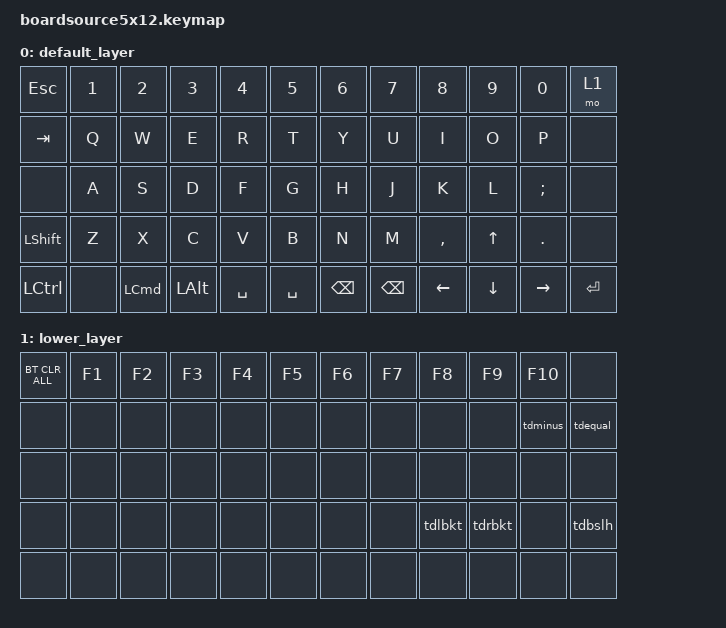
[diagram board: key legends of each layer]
/*
 * Copyright (c) 2021 The ZMK Contributors
 *
 * SPDX-License-Identifier: MIT
 */

#include <behaviors.dtsi>
#include <dt-bindings/zmk/bt.h>
#include <dt-bindings/zmk/keys.h>

/ {
    behaviors {
        tdn5: tap_dance_n5 {
            compatible = "zmk,behavior-tap-dance";
            label = "TAP_DANCE_N5";
            #binding-cells = <0>;
            tapping-term-ms = <180>;
            bindings = <&kp N5>, <&kp PRCNT>;
        };

        tdn6: tap_dance_n6 {
            compatible = "zmk,behavior-tap-dance";
            label = "TAP_DANCE_N6";
            #binding-cells = <0>;
            tapping-term-ms = <180>;
            bindings = <&kp N6>, <&kp CARET>;
        };

        tdn7: tap_dance_n7 {
            compatible = "zmk,behavior-tap-dance";
            label = "TAP_DANCE_N7";
            #binding-cells = <0>;
            tapping-term-ms = <180>;
            bindings = <&kp N7>, <&kp AMPS>;
        };

        tdn8: tap_dance_n8 {
            compatible = "zmk,behavior-tap-dance";
            label = "TAP_DANCE_N8";
            #binding-cells = <0>;
            tapping-term-ms = <180>;
            bindings = <&kp N8>, <&kp ASTRK>;
        };

        tdn9: tap_dance_n9 {
            compatible = "zmk,behavior-tap-dance";
            label = "TAP_DANCE_N9";
            #binding-cells = <0>;
            tapping-term-ms = <180>;
            bindings = <&kp N9>, <&kp LPAR>;
        };

        tdn0: tap_dance_n0 {
            compatible = "zmk,behavior-tap-dance";
            label = "TAP_DANCE_N0";
            #binding-cells = <0>;
            tapping-term-ms = <180>;
            bindings = <&kp N0>, <&kp RPAR>;
        };

        tdlshft: tap_dance_lshft {
            compatible = "zmk,behavior-tap-dance";
            label = "TAP_DANCE_LSHFT";
            #binding-cells = <0>;
            tapping-term-ms = <180>;
            bindings = <&kp LSHFT>, <&kp CAPS>;
        };

        tdminus: tap_dance_minus {
            compatible = "zmk,behavior-tap-dance";
            label = "TAP_DANCE_MINUS";
            #binding-cells = <0>;
            tapping-term-ms = <180>;
            bindings = <&kp MINUS>, <&kp UNDER>;
        };

        tdequal: tap_dance_equal {
            compatible = "zmk,behavior-tap-dance";
            label = "TAP_DANCE_EQUAL";
            #binding-cells = <0>;
            tapping-term-ms = <180>;
            bindings = <&kp EQUAL>, <&kp PLUS>;
        };

        tdlbkt: tap_dance_lbkt {
            compatible = "zmk,behavior-tap-dance";
            label = "TAP_DANCE_LBKT";
            #binding-cells = <0>;
            tapping-term-ms = <180>;
            bindings = <&kp LBKT>, <&kp LBRC>;
        };

        tdrbkt: tap_dance_rbkt {
            compatible = "zmk,behavior-tap-dance";
            label = "TAP_DANCE_RBKT";
            #binding-cells = <0>;
            tapping-term-ms = <180>;
            bindings = <&kp RBKT>, <&kp RBRC>;
        };

        tdfslh: tap_dance_fslh {
            compatible = "zmk,behavior-tap-dance";
            label = "TAP_DANCE_FSLH";
            #binding-cells = <0>;
            tapping-term-ms = <180>;
            bindings = <&kp FSLH>, <&kp QMARK>;
        };

        tdbslh: tap_dance_bslh {
            compatible = "zmk,behavior-tap-dance";
            label = "TAP_DANCE_BSLH";
            #binding-cells = <0>;
            tapping-term-ms = <180>;
            bindings = <&kp BSLH>, <&kp PIPE>;
        };

        tdgrave: tap_dance_grave {
            compatible = "zmk,behavior-tap-dance";
            label = "TAP_DANCE_GRAVE";
            #binding-cells = <0>;
            tapping-term-ms = <380>;
            bindings = <&kp GRAVE>, <&kp TILDE>;
        };

        tdcomma: tap_dance_comma {
            compatible = "zmk,behavior-tap-dance";
            label = "TAP_DANCE_COMMA";
            #binding-cells = <0>;
            tapping-term-ms = <180>;
            bindings = <&kp COMMA>, <&kp LT>;
        };

        tddot: tap_dance_dot {
            compatible = "zmk,behavior-tap-dance";
            label = "TAP_DANCE_DOT";
            #binding-cells = <0>;
            tapping-term-ms = <180>;
            bindings = <&kp DOT>, <&kp GT>;
        };

        tdsqt: tap_dance_sqt {
            compatible = "zmk,behavior-tap-dance";
            label = "TAP_DANCE_SQT";
            #binding-cells = <0>;
            tapping-term-ms = <180>;
            bindings = <&kp APOS>, <&kp DQT>;
        };

        tdsemi: tap_dance_semi {
            compatible = "zmk,behavior-tap-dance";
            label = "TAP_DANCE_SEMI";
            #binding-cells = <0>;
            tapping-term-ms = <180>;
            bindings = <&kp SEMI>, <&kp COLON>;
        };

        tdvoldn: tap_dance_voldn {
            compatible = "zmk,behavior-tap-dance";
            label = "TAP_DANCE_VOLDN";
            #binding-cells = <0>;
            tapping-term-ms = <180>;
            bindings = <&kp C_VOL_DN>, <&kp C_MUTE>;
        };
    };

    macros {
        ctrl_alt_del: ctrl_alt_del {
            label = "ZM_ctrl_alt_del";
            compatible = "zmk,behavior-macro";
            #binding-cells = <0>;
            bindings =
                <&macro_press>,
                <&kp LCTRL &kp LALT &kp DEL>,
                <&macro_release>,
                <&kp LCTRL &kp LALT &kp DEL>;
        };

        ctrl_shift_esc: ctrl_shift_esc {
            label = "ZM_ctrl_shift_esc";
            compatible = "zmk,behavior-macro";
            #binding-cells = <0>;
            bindings =
                <&macro_press>,
                <&kp LCTRL &kp LSHIFT &kp ESC>,
                <&macro_release>,
                <&kp LCTRL &kp LSHIFT &kp ESC>;
        };

        lgui_d: lgui_d {
            label = "ZM_lgui_d";
            compatible = "zmk,behavior-macro";
            #binding-cells = <0>;
            bindings =
                <&macro_press>,
                <&kp LGUI &kp D>,
                <&macro_release>,
                <&kp LGUI &kp D>;
        };

        lgui_shft_s: lgui_shft_s {
            label = "ZM_lgui_shft_s";
            compatible = "zmk,behavior-macro";
            #binding-cells = <0>;
            bindings =
                <&macro_press>,
                <&kp LGUI &kp LSHFT &kp S>,
                <&macro_release>,
                <&kp LGUI &kp LSHFT &kp S>;
        };

        lgui_e: lgui_e {
            label = "ZM_lgui_e";
            compatible = "zmk,behavior-macro";
            #binding-cells = <0>;
            bindings =
                <&macro_press>,
                <&kp LGUI &kp E>,
                <&macro_release>,
                <&kp LGUI &kp E>;
        };
    };

    keymap {
        compatible = "zmk,keymap";

        default_layer {
            // ------------------------------------------------------------------------------------------
            // |  ESC  |  1*  |  2*  |  3*  |     4*    |   5*  |   6*   |    7*    |  8*  |  9*  |   0*  | BSPC  |
            // |  TAB  |  Q   |  W   |  E   |     R     |   T   |   Y    |    U     |  I   |  O   |   P   |   '*  |
            // |   `*  |  A   |  S   |  D   |     F     |   G   |   H    |    J     |  K   |  L   |   ;*  | ENTER |
            // | SHIFT |  Z   |  X   |  C   |     V     |   B   |   N    |    M     |  ,*  |  .*  | UARW  |  /*   |
            // | LCTL  | LGUI | LALT | LOWR | 2uSpace(a)|4uSpace|  N/A** |2uSpace(b)| RAIS | LARW | DARW  | RARW  |

            bindings = <
&kp ESC    &kp N1  &kp N2    &kp N3    &kp N4     &kp N5     &kp NUMBER_6   &kp N7    &kp N8     &kp N9        &kp N0     &mo 1
&kp TAB    &kp Q   &kp W     &kp E     &kp R      &kp T      &kp Y          &kp U     &kp I      &kp O         &kp P      &none
&none      &kp A   &kp S     &kp D     &kp F      &kp G      &kp H          &kp J     &kp K      &kp L         &kp SEMI   &none
&kp LSHFT  &kp Z   &kp X     &kp C     &kp V      &kp B      &kp N          &kp M     &kp COMMA  &kp UP_ARROW  &kp DOT    &none
&kp LCTRL  &none   &kp LCMD  &kp LALT  &kp SPACE  &kp SPACE  &kp BACKSPACE  &kp BSPC  &kp LEFT   &kp DOWN      &kp RIGHT  &kp ENTER
            >;
        };

        lower_layer {
            // -------------------------------------------------------------------------------------------
            // |  F11   |   F1  |  F2   |  F3   |  F4      |  F5   |  F6    |   F7     |  F8  |  F9  |  F10  |  F12  |
            // |        |  INS  |  HOME | PG UP | File Exp*|       |        |          |      |      |  -*   |  =*   |
            // | win+d* |  DEL  |  END  | PG DN |          |       |        |          |      |      |       |       |
            // |  CAPS  |       |       |       |          |       |        |          |  [*  |  ]*  |       |   \*  |
            // |        |       |       | LOWR  |2uSpace(a)|4uSpace|  N/A** |2uSpace(b)| RAIS |      |       |       |

            bindings = <
&bt BT_CLR_ALL  &kp F1  &kp F2  &kp F3  &kp F4  &kp F5  &kp F6  &kp F7  &kp F8   &kp F9   &kp F10   &none
&none           &none   &none   &none   &none   &none   &none   &none   &none    &none    &tdminus  &tdequal
&none           &none   &none   &none   &none   &none   &none   &none   &none    &none    &none     &none
&none           &none   &none   &none   &none   &none   &none   &none   &tdlbkt  &tdrbkt  &none     &tdbslh
&none           &none   &none   &none   &none   &none   &none   &none   &none    &none    &none     &none
            >;
        };
    };
};
